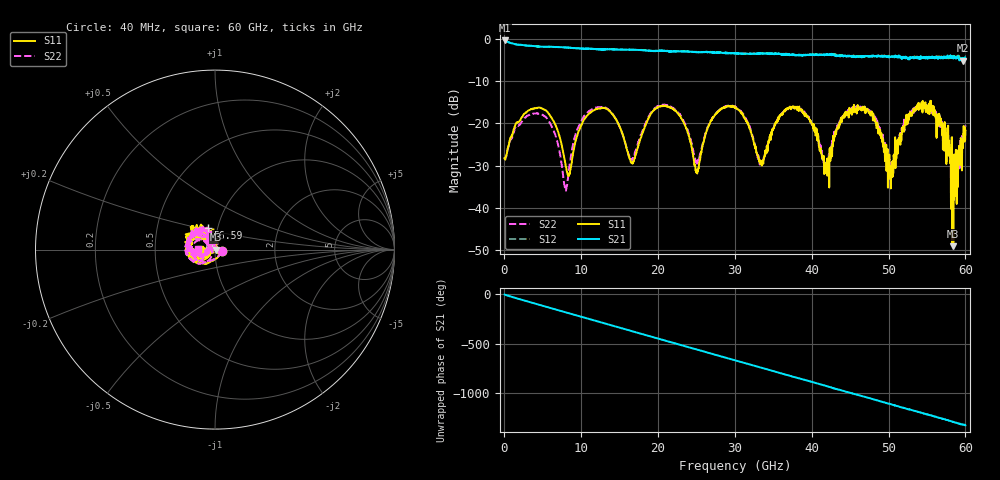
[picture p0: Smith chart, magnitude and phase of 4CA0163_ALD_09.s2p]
! File created by 'SoftPlot +Plus+ Measurement Management Software'
! SoftPlot +Plus+ Measurement Management Software
! Start 40.000000 MHz  Stop 60.000000 GHz  Points 1601
# MHZ S RI R 50
! S-Parameter data, F S11 S21 S12 S22
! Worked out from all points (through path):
!   1601 points, 40 MHz to 60 GHz, reference 50 ohm
!   highest |S21| = -0.37 dB at 40 MHz (marker M1); lowest = -5.2 dB at 59.66 GHz (marker M2)
!   group delay of S21, straight-line fit = 61.1 ps
!   lowest |S11| = -49.1 dB at 58.43 GHz (marker M3), VSWR 1.01, Z = 50.4 - j0.0283 ohm
!   |S11| at or under -10 dB: start of sweep to end of sweep
!   |S22| runs from -38.6 to -15.4 dB; largest |S21 - S12| = 0.066
!   S11 on the Smith chart (normalised r, x): 40 MHz: 1.08, -0.02; 56.59 GHz: 0.89, +0.22; 60 GHz: 0.85, +0.00
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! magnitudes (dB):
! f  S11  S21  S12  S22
! 40 MHz  -28.3  -0.4  -0.4  -28.0
! 4.837 GHz  -16.5  -1.9  -1.8  -17.9
! 7.985 GHz  -29.9  -2.0  -2.1  -35.7
! 10.05 GHz  -20.4  -2.3  -2.3  -19.3
! 13.49 GHz  -16.8  -2.4  -2.4  -16.6
! 16.68 GHz  -29.6  -2.6  -2.6  -28.3
! 20.05 GHz  -16.2  -2.9  -2.8  -15.9
! 23.01 GHz  -18.8  -2.9  -3.0  -18.4
! 25.04 GHz  -31.7  -3.2  -3.1  -29.2
! 30.02 GHz  -16.0  -3.4  -3.3  -16.0
! 33.39 GHz  -29.2  -3.4  -3.5  -29.5
! 36.77 GHz  -16.6  -3.7  -3.5  -16.7
! 40.03 GHz  -20.3  -3.7  -3.7  -20.1
! 41.97 GHz  -30.2  -3.6  -3.7  -29.7
! 44 GHz  -18.6  -3.9  -3.9  -18.4
! 47 GHz  -17.6  -4.1  -4.2  -16.6
! 50.03 GHz  -31.8  -4.2  -4.0  -33.4
! 53.52 GHz  -17.0  -4.5  -4.4  -16.1
! 56.59 GHz  -17.8  -4.3  -4.1  -19.3
! 58.43 GHz  -49.1  -4.6  -4.0  -37.3
! 59.66 GHz  -25.9  -5.2  -4.8  -23.5
! 60 GHz  -21.7  -4.8  -4.7  -20.5
